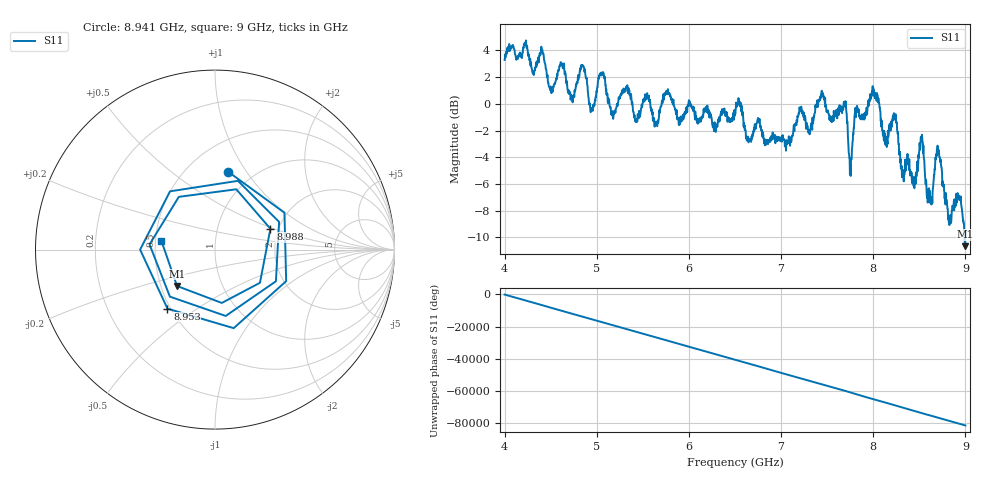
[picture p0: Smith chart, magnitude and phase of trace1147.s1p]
! Created with skrf 1.8.0 (http://scikit-rf.org).
# Hz S RI R 50.0
!freq ReS11 ImS11
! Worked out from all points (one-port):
!   1601 points, 4 GHz to 9 GHz, reference 50 ohm
!   lowest |S11| = -10.7 dB at 8.997 GHz (marker M1), VSWR 1.83, Z = 30.3 - j13.4 ohm
!   |S11| at or under -10 dB: 8.990191 GHz to end of sweep
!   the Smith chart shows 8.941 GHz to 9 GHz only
!   S11 on the Smith chart (normalised r, x): 8.941 GHz: 0.77, +0.83; 8.953 GHz: 0.48, -0.39; 8.988 GHz: 1.81, +0.47; 9 GHz: 0.54, +0.06
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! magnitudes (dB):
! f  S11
! 4 GHz  3.3
! 4.4 GHz  4.3
! 4.506 GHz  0.8
! 4.625 GHz  3.0
! 4.731 GHz  0.4
! 4.853 GHz  2.8
! 4.941 GHz  -0.4
! 5.05 GHz  2.2
! 5.25 GHz  0.5
! 5.875 GHz  -1.1
! 6.5 GHz  -0.5
! 7.125 GHz  -2.4
! 7.453 GHz  0.8
! 7.691 GHz  -0.1
! 7.75 GHz  -4.9
! 7.819 GHz  -0.4
! 8.003 GHz  0.6
! 8.375 GHz  -4.3
! 8.444 GHz  -6.3
! 8.525 GHz  -2.7
! 8.616 GHz  -7.1
! 8.706 GHz  -3.7
! 8.825 GHz  -9.1
! 8.941 GHz  -7.1
! 8.953 GHz  -7.5
! 8.988 GHz  -9.6
! 8.997 GHz  -10.7
! 9 GHz  -10.4
